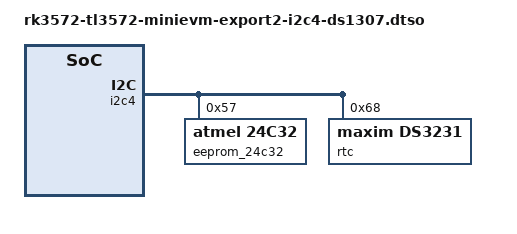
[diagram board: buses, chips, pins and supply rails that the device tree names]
// SPDX-License-Identifier: (GPL-2.0+ OR MIT)
/*
 * Copyright (c) 2026 unifreq <flippy@sina.com>
 *
 * TL3572-MiniEVM 自身不带rtc
 * 利用 EXPORT2 PIN16 PIN18 接入外部ds1307/ds3231等rtc模组
 *
 * 占用 EXPORT2(CON14)：
 *   PIN 16 = GPIO3_B7 / I2C4_SDA_M3
 *   PIN 18 = GPIO3_C0 / I2C4_SCL_M3
 *   PIN  2 = VDD_3V3_IO
 *   PIN 3/4/9/20/22/29 = GND
 */

/dts-v1/;
/plugin/;

/ {
	fragment@0 {
		target = <&i2c4>;

		__overlay__ {
			#address-cells = <1>;
			#size-cells = <0>;

			/* Taobao DS3231 模块通常自带一片 AT24C32 */
			eeprom_24c32: eeprom@57 {
				compatible = "atmel,24c32";
				reg = <0x57>;
				pagesize = <32>;
				/* 可选，但建议加上 */
				size = <4096>;
			};

			rtc: rtc@68 {
				compatible = "maxim,ds3231", "dallas,ds1307";
				reg = <0x68>;
				status = "okay";
			};
		};
	};
};
